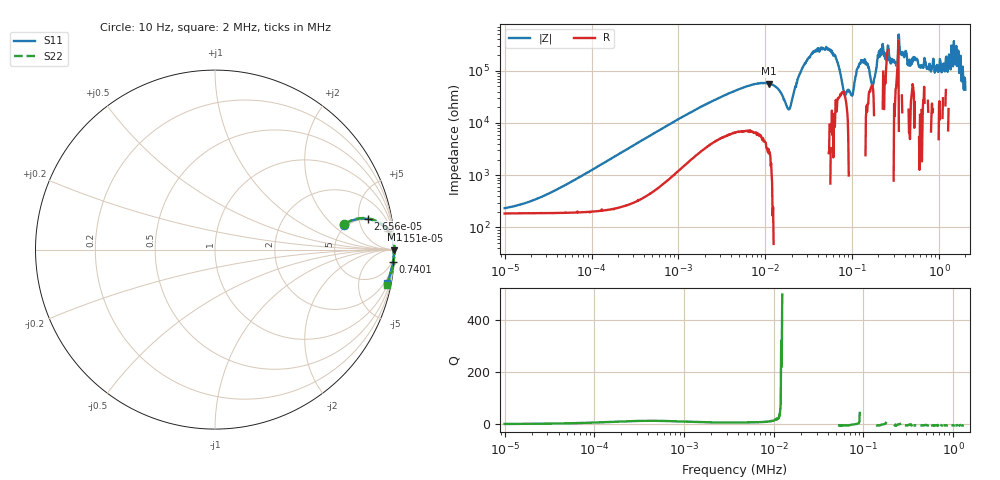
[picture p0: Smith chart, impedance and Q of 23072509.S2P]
!Agilent Technologies,E5061B,MY49204007,A.02.12
!Date: Wed Jul 23 11:09:47 2025
!Data & Calibration Information:
!Freq	S11:SOLT2(ON)	S21:SOLT2(ON)	S12:SOLT2(ON)	S22:SOLT2(ON)
# Hz S dB R 50
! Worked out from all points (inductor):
!   1040 points, 10 Hz to 2 MHz, reference 50 ohm
!   read as one part in series: L = 1.97 H near 45.94 Hz
!   highest Q = 21.7 at 11.06 kHz (marker M1), where L = 811 mH
!   self-resonance near 18.87 kHz
!   S11 on the Smith chart (normalised r, x): 10 Hz: 4.72, +2.85; 26.56 Hz: 4.80, +6.71; 71.51 Hz: 5, +18; 740.1 kHz: 2, -29; 2 MHz: 1, -10
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10  -2.69 11.0  -10.08 -26.7  -10.08 -26.6  -2.68 11.2
26.564  -1.21 11.3  -12.92 -49.4  -12.92 -49.3  -1.20 11.5
71.513  -0.26 6.0  -19.39 -71.5  -19.39 -71.4  -0.24 6.2
77.209  -0.22 5.6  -19.99 -72.7  -19.99 -72.6  -0.21 5.8
588.818  -0.01 0.8  -37.08 -84.5  -37.09 -84.4  0.00 1.0
4498.482  -0.01 0.1  -52.36 -80.7  -52.38 -80.7  0.01 0.3
11060.48  -0.01 -0.1  -55.03 -87.3  -55.11 -87.7  0.01 0.1
18649.58  -0.05 -0.1  -45.24 -168.3  -45.24 -168.0  -0.04 0.0
34305.13  -0.01 -0.2  -66.70 102.3  -66.36 101.2  0.01 -0.0
55893.47  -0.00 -0.3  -67.67 89.6  -67.66 93.7  0.01 -0.2
80941.33  -0.04 -0.5  -52.03 -1.2  -52.01 -0.3  -0.01 -0.4
96607.24  -0.03 -0.5  -51.00 -130.9  -50.87 -132.5  -0.02 -0.5
127920.3  -0.01 -0.7  -63.54 94.1  -63.96 95.4  0.01 -0.6
171424.7  -0.03 -0.9  -54.14 -16.8  -54.41 -16.2  -0.01 -0.9
212098.9  -0.01 -1.1  -68.25 98.9  -66.81 87.3  0.00 -1.0
261946.5  -0.02 -1.4  -68.18 -136.9  -70.24 -146.1  -0.02 -1.3
310907.5  -0.02 -1.7  -63.22 78.6  -62.72 75.5  -0.00 -1.6
355448.7  -0.02 -1.8  -66.90 96.6  -67.02 95.2  -0.01 -1.8
460667.8  -0.03 -2.5  -62.27 85.4  -62.27 84.4  -0.00 -2.3
740061.9  -0.04 -4.0  -61.47 72.7  -61.01 84.8  -0.01 -4.5
1574823  -0.14 -8.5  -69.68 -173.8  -69.56 174.3  -0.12 -9.2
2000000  -0.21 -11.0  -53.07 -127.5  -53.50 -125.3  -0.20 -11.8
